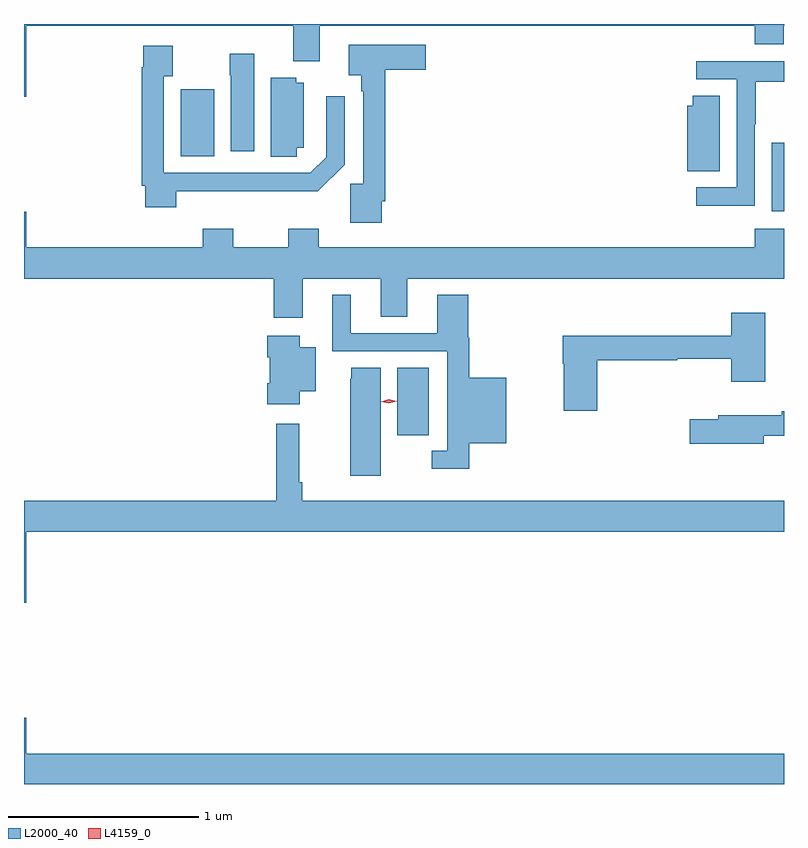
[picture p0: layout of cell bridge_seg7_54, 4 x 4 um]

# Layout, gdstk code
import gdstk
lib = gdstk.Library(unit=1e-6, precision=1e-09)
def R(c, l, rs):  # rectangles x0, y0, x1, y1
    for r in rs: c.add(gdstk.rectangle(r[:2], r[2:], *l))
def P(c, l, *ps):  # polygons
    for p in ps: c.add(gdstk.Polygon(p, *l))
L2000_40 = (2000, 40)
L4159_0 = (4159, 0)

bridge_seg7_54 = lib.new_cell('bridge_seg7_54')
R(bridge_seg7_54, L2000_40, [(922.37,1018.44,922.534,1018.796), (924.341,1019.618,924.405,1019.979)])
P(bridge_seg7_54, L2000_40, [(920.416,1020.596),(921.821,1020.596),(921.821,1020.407),(921.961,1020.407),(921.961,1020.596),(924.251,1020.596),(924.251,1020.497),(924.403,1020.497),(924.403,1020.596),(924.405,1020.596),(924.405,1020.604),(920.405,1020.604),(920.405,1020.222),(920.416,1020.222)],
  [(922.288,1019.671),(922.307,1019.671),(922.307,1020.362),(922.519,1020.362),(922.519,1020.496),(922.113,1020.496),(922.113,1020.335),(922.179,1020.335),(922.179,1020.251),(922.191,1020.251),(922.191,1019.763),(922.122,1019.763),(922.122,1019.559),(922.288,1019.559)],
  [(921.205,1019.723),(921.951,1019.723),(922.092,1019.864),(922.092,1020.223),(921.996,1020.223),(921.996,1019.904),(921.912,1019.82),(921.141,1019.82),(921.141,1020.33),(921.187,1020.33),(921.187,1020.49),(921.033,1020.49),(921.033,1020.377),(921.025,1020.377),(921.025,1019.752),(921.044,1019.752),(921.044,1019.64),(921.205,1019.64)],
  [(921.616,1020.448),(921.487,1020.448),(921.487,1020.335),(921.494,1020.335),(921.494,1019.934),(921.616,1019.934)],
  [(924.252,1020.076),(924.255,1020.076),(924.255,1020.3),(924.405,1020.3),(924.405,1020.408),(923.943,1020.408),(923.943,1020.312),(924.156,1020.312),(924.156,1019.745),(923.943,1019.745),(923.943,1019.647),(924.252,1019.647)],
  [(921.84,1019.952),(921.877,1019.952),(921.877,1020.295),(921.837,1020.295),(921.837,1020.322),(921.704,1020.322),(921.704,1019.905),(921.84,1019.905)],
  [(921.406,1020.261),(921.231,1020.261),(921.231,1020.158),(921.23,1020.158),(921.23,1019.909),(921.406,1019.909)],
  [(924.067,1020.227),(923.924,1020.227),(923.924,1020.174),(923.897,1020.174),(923.897,1019.83),(924.067,1019.83)],
  [(921.871,1019.264),(922.283,1019.264),(922.283,1019.062),(922.423,1019.062),(922.423,1019.264),(924.405,1019.264),(924.405,1019.527),(924.251,1019.527),(924.251,1019.428),(921.956,1019.428),(921.956,1019.527),(921.796,1019.527),(921.796,1019.428),(921.507,1019.428),(921.507,1019.527),(921.347,1019.527),(921.347,1019.428),(920.416,1019.428),(920.416,1019.617),(920.405,1019.617),(920.405,1019.264),(921.719,1019.264),(921.719,1019.058),(921.871,1019.058)],
  [(922.748,1018.397),(922.942,1018.397),(922.942,1018.741),(922.748,1018.741),(922.748,1018.952),(922.742,1018.952),(922.742,1019.179),(922.58,1019.179),(922.58,1018.977),(922.126,1018.977),(922.126,1019.179),(922.028,1019.179),(922.028,1018.881),(922.632,1018.881),(922.632,1018.359),(922.551,1018.359),(922.551,1018.262),(922.748,1018.262)],
  [(923.423,1018.834),(923.844,1018.834),(923.844,1018.842),(924.128,1018.842),(924.128,1018.722),(924.306,1018.722),(924.306,1019.083),(924.128,1019.083),(924.128,1018.963),(923.24,1018.963),(923.24,1018.817),(923.245,1018.817),(923.245,1018.569),(923.423,1018.569)],
  [(921.856,1018.67),(921.94,1018.67),(921.94,1018.903),(921.856,1018.903),(921.856,1018.963),(921.686,1018.963),(921.686,1018.85),(921.698,1018.85),(921.698,1018.714),(921.686,1018.714),(921.686,1018.602),(921.856,1018.602)],
  [(922.282,1018.796),(922.127,1018.796),(922.127,1018.737),(922.121,1018.737),(922.121,1018.227),(922.282,1018.227)],
  [(924.298,1018.437),(924.405,1018.437),(924.405,1018.565),(924.394,1018.565),(924.394,1018.546),(924.059,1018.546),(924.059,1018.524),(923.91,1018.524),(923.91,1018.394),(924.298,1018.394)],
  [(920.416,1017.932),(924.405,1017.932),(924.405,1018.096),(921.869,1018.096),(921.869,1018.192),(921.854,1018.192),(921.854,1018.501),(921.733,1018.501),(921.733,1018.096),(920.405,1018.096),(920.405,1017.558),(920.416,1017.558)],
  [(920.416,1016.953),(920.405,1016.953),(920.405,1016.604),(924.405,1016.604),(924.405,1016.764),(920.416,1016.764)])
P(bridge_seg7_54, L4159_0, [(922.326,1018.608),(922.286,1018.617),(922.286,1018.617),(922.286,1018.617),(922.326,1018.628),(922.367,1018.618),(922.367,1018.618),(922.367,1018.618)])

lib.write_gds('bridge_seg7_54.gds')
